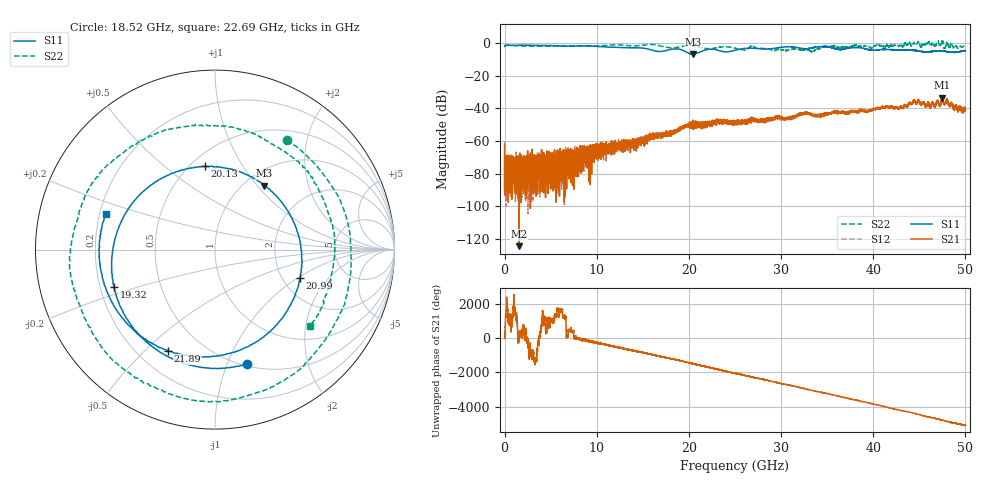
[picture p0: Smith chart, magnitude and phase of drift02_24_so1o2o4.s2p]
!Created with skrf (http://scikit-rf.org).
# Hz S RI R 50.0
!freq ReS11 ImS11 ReS21 ImS21 ReS12 ImS12 ReS22 ImS22
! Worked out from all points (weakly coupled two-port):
!   10001 points, 300 kHz to 50 GHz, reference 50 ohm
!   highest |S21| = -33.40 dB at 47.51 GHz (marker M1); lowest = -124.3 dB at 1.56 GHz (marker M2)
!   lowest |S11| = -6.9 dB at 20.45 GHz (marker M3), VSWR 2.64, Z = 61.1 + j54.7 ohm
!   |S11| at or under -10 dB: nowhere
!   |S22| runs from -5.4 to 1.5 dB; largest |S21 - S12| = 0.0033
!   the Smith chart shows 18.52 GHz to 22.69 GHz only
!   S11 on the Smith chart (normalised r, x): 18.52 GHz: 0.52, -1.18; 19.32 GHz: 0.26, -0.17; 20.13 GHz: 0.59, +0.70; 20.99 GHz: 2.49, -1.06; 21.89 GHz: 0.32, -0.59; 22.69 GHz: 0.23, +0.15
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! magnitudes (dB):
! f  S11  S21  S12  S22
! 300 kHz  -2.1  -62.3  -60.2  -1.3
! 255.3 MHz  -1.4  -78.1  -73.0  -1.4
! 1.56 GHz  -1.4  -124.3  -78.3  -1.8
! 5.42 GHz  -1.6  -66.1  -68.1  -2.0
! 8.335 GHz  -1.7  -65.7  -69.1  -1.9
! 16.67 GHz  -5.2  -56.0  -58.1  -1.5
! 18.52 GHz  -3.6  -53.5  -54.2  -2.8
! 19.32 GHz  -4.4  -51.9  -52.4  -2.1
! 20.13 GHz  -6.6  -52.1  -50.4  -1.5
! 20.45 GHz  -6.9  -50.4  -51.0  -1.8
! 20.99 GHz  -6.0  -49.1  -49.0  -2.3
! 21.89 GHz  -4.1  -51.4  -49.6  -3.5
! 22.69 GHz  -3.9  -48.7  -48.7  -3.4
! 25 GHz  -4.5  -48.6  -49.1  -3.2
! 26.11 GHz  -3.3  -46.9  -48.3  -4.3
! 26.9 GHz  -3.2  -46.3  -46.5  -1.7
! 33.34 GHz  -3.0  -44.2  -43.3  -5.1
! 34.89 GHz  -2.2  -44.0  -43.4  -2.2
! 41.67 GHz  -4.0  -39.1  -39.1  -2.1
! 44.64 GHz  -4.6  -37.1  -36.8  -0.6
! 47.51 GHz  -4.9  -33.4  -33.5  1.5
! 50 GHz  -4.7  -41.0  -40.9  -1.5
